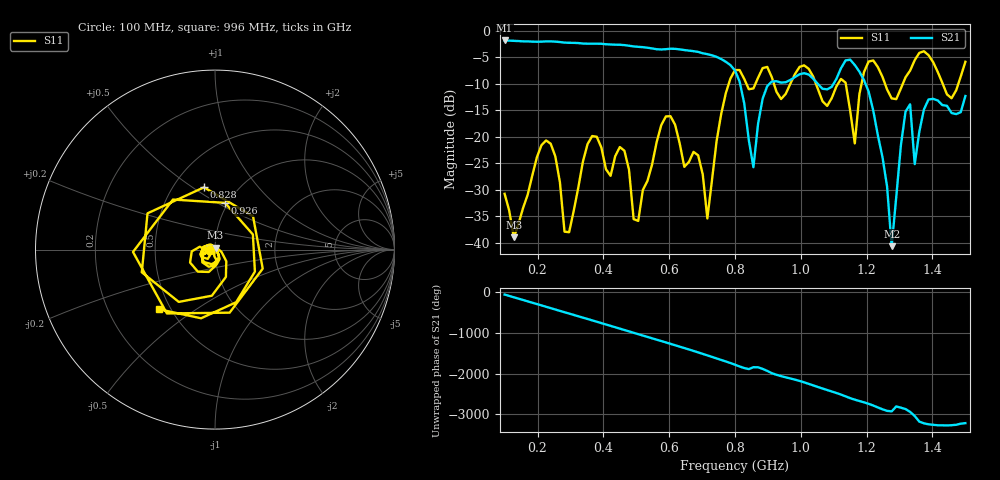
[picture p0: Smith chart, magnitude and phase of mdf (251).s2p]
! NanoVNA-App
! Date: 2025-09-25 15:40:23
! Start: 100MHz Stop: 1,5GHz Points: 101
! S-Parameter data: F S11 S21 S12 S22
# Hz S RI R 50
!  Frequency  S11_Real  S11_Imag  S21_Real  S21_Imag  S12_Real  S12_Imag  S22_Real  S22_Imag
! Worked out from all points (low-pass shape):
!   101 points, 100 MHz to 1.5 GHz, reference 50 ohm
!   highest |S21| = -1.80 dB at 100 MHz (marker M1); lowest = -40.7 dB at 1.276 GHz (marker M2)
!   |S21| within 3 dB of the highest: start of sweep to 739.2 MHz
!   lowest |S11| = -39.0 dB at 128 MHz (marker M3), VSWR 1.02, Z = 50.3 + j1.07 ohm
!   |S11| at or under -10 dB: start of sweep to 781 MHz; 918.3 MHz to 968 MHz (49.7 MHz wide, 5.27 % of centre); 1.046 GHz to 1.113 GHz (66.95 MHz wide, 6.2 % of centre) (the widest 3 of 7)
!   S12 and S22 are empty: the file has one direction only
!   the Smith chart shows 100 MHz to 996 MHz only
!   S11 on the Smith chart (normalised r, x): 100 MHz: 0.94, -0.01; 828 MHz: 0.70, +0.56; 926 MHz: 0.97, +0.54; 996 MHz: 0.43, -0.36
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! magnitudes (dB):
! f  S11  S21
! 100 MHz  -30.8  -1.8
! 128 MHz  -39.0  -1.9
! 212 MHz  -21.6  -2.0
! 282 MHz  -37.9  -2.2
! 338 MHz  -24.7  -2.4
! 464 MHz  -22.6  -2.7
! 506 MHz  -35.9  -3.0
! 576 MHz  -17.8  -3.5
! 716 MHz  -35.4  -4.4
! 800 MHz  -7.4  -7.5
! 828 MHz  -9.1  -13.7
! 856 MHz  -10.9  -25.8
! 926 MHz  -11.5  -9.5
! 996 MHz  -6.8  -8.2
! 1.038 GHz  -8.7  -9.1
! 1.164 GHz  -21.3  -6.4
! 1.192 GHz  -7.8  -9.3
! 1.276 GHz  -12.8  -40.7
! 1.318 GHz  -8.8  -15.3
! 1.346 GHz  -5.5  -25.2
! 1.388 GHz  -4.6  -12.9
! 1.5 GHz  -5.8  -12.3
